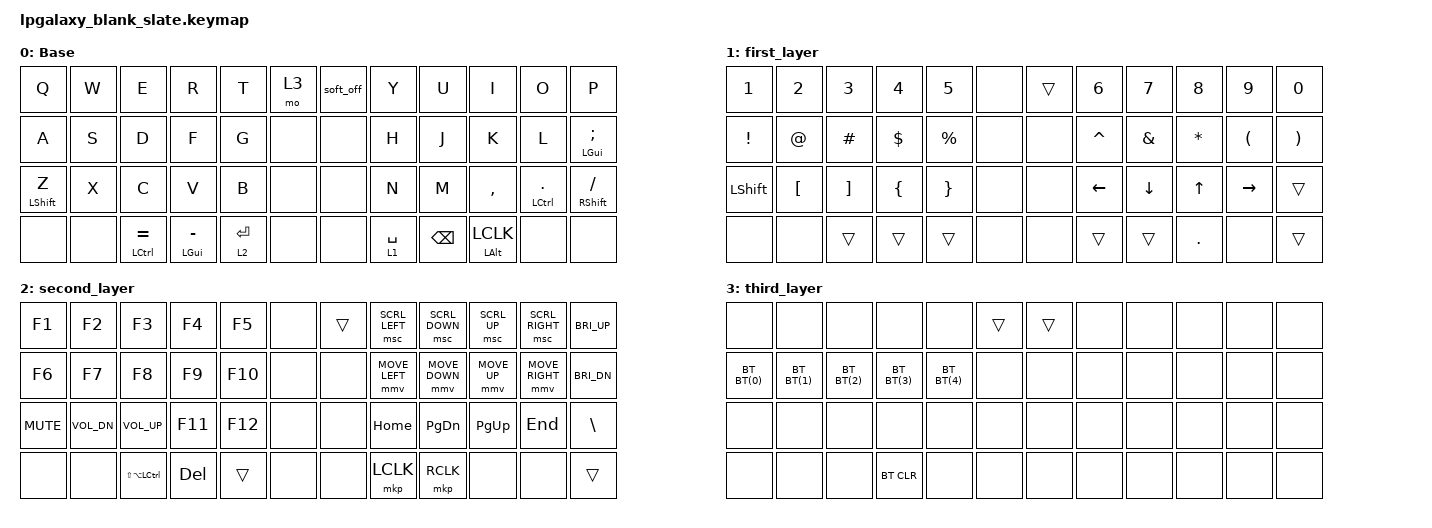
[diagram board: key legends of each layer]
/*
 * Copyright (c) 2022 Pete Johanson
 * Copyright (c) 2024 Carlos Oseguera
 *
 * SPDX-License-Identifier: MIT
 */

#define ZMK_POINTING_DEFAULT_MOVE_VAL 900
#define ZMK_POINTING_DEFAULT_SCRL_VAL 15 

#include <behaviors.dtsi>
#include <dt-bindings/zmk/keys.h>
#include <dt-bindings/zmk/bt.h>
#include <dt-bindings/zmk/outputs.h>
#include <dt-bindings/zmk/pointing.h>

#define TBLE_ORTHO   1

&mt {
  quick_tap_ms = <200>;
  flavor = "balanced";
};

&lt {
  quick_tap_ms = <200>;
  tapping-term-ms = <250>;
};

/ {
  ht: hold_tap {
    compatible = "zmk,behavior-hold-tap";
    #binding-cells = <2>;
    flavor = "hold-preferred";
    tapping-term-ms = <200>;
    quick_tap_ms = <200>;
    bindings = <&kp>, <&kp>;
  };
};

/ {
  hm: hold_mouse {
    compatible = "zmk,behavior-hold-tap";
    #binding-cells = <2>;
    flavor = "hold-preferred";
    tapping-term-ms = <200>;
    quick_tap_ms = <200>;
    bindings = <&kp>, <&mkp>;
  };
};

#define BT(n) BT_SEL n

#define meh LS(LA(LCTRL))

/ {
    chosen {
       zmk,physical-layout = &layout_ortho_4x12_all1u;
    };

    combos {
      compatible = "zmk,combos";
      combo_esc {
        timeout-ms = <50>;
        key-positions = <1 2>;
        bindings = <&kp ESC>;
      };
      combo_grave {
        timeout-ms = <50>;
        key-positions = <3 4>;
        bindings = <&kp GRAVE>;
      };
      combo_tab {
        timeout-ms = <50>;
        key-positions = <13 14>;
        bindings = <&kp TAB>;
      };
      combo_dqt {
        timeout-ms = <50>;
        key-positions = <19 20>;
        bindings = <&kp DQT>;
      };
      combo_sqt {
        timeout-ms = <50>;
        key-positions = <20 21>;
        bindings = <&kp SQT>;
      };
    };

    keymap {
        compatible = "zmk,keymap";

        base_layer {
            label = "Base";
            bindings = <
              &kp Q        &kp W &kp E           &kp R          &kp T       &mo 3 &soft_off &kp Y       &kp U    &kp I         &kp O         &kp P
              &kp A        &kp S &kp D           &kp F          &kp G       &none &none     &kp H       &kp J    &kp K         &kp L         &mt LGUI SEMI
              &ht LSHIFT Z &kp X &kp C           &kp V          &kp B       &none &none     &kp N       &kp M    &kp COMMA     &mt LCTRL DOT &ht RSHIFT SLASH
              &none        &none &mt LCTRL EQUAL &mt LGUI MINUS &lt 2 ENTER &none &none     &lt 1 SPACE &kp BSPC &hm LALT LCLK &none         &none
            >;
        };

        first_layer {
            bindings = <
              &kp N1     &kp N2   &kp N3   &kp N4   &kp N5    &none &trans &kp N6    &kp N7   &kp N8    &kp N9    &kp N0
              &kp EXCL   &kp AT   &kp HASH &kp DLLR &kp PRCNT &none &none  &kp CARET &kp AMPS &kp ASTRK &kp LPAR  &kp RPAR
              &kp LSHIFT &kp LBKT &kp RBKT &kp LBRC &kp RBRC  &none &none  &kp LEFT  &kp DOWN &kp UP    &kp RIGHT &trans
              &none      &none    &trans   &trans   &trans    &none &none  &trans    &trans   &kp DOT   &none     &trans
            >;
        };

        second_layer {
            bindings = <
              &kp F1     &kp F2       &kp F3       &kp F4  &kp F5  &none &trans &msc SCRL_LEFT &msc SCRL_DOWN &msc SCRL_UP &msc SCRL_RIGHT &kp C_BRI_UP
              &kp F6     &kp F7       &kp F8       &kp F9  &kp F10 &none &none  &mmv MOVE_LEFT &mmv MOVE_DOWN &mmv MOVE_UP &mmv MOVE_RIGHT &kp C_BRI_DN
              &kp C_MUTE &kp C_VOL_DN &kp C_VOL_UP &kp F11 &kp F12 &none &none  &kp HOME       &kp PG_DN      &kp PG_UP    &kp END         &kp BSLH
              &none      &none        &kp meh      &kp DEL &trans  &none &none  &mkp LCLK      &mkp RCLK      &none        &none           &trans
            >;
        };

        third_layer {
            bindings = <
              &none     &none     &none     &none      &none     &trans &trans &none &none &none &none &none
              &bt BT(0) &bt BT(1) &bt BT(2) &bt BT(3)  &bt BT(4) &none  &none  &none &none &none &none &none
              &none     &none     &none     &none      &none     &none  &none  &none &none &none &none &none
              &none     &none     &none     &bt BT_CLR &none     &none  &none  &none &none &none &none &none
            >;
        };
    };
};

